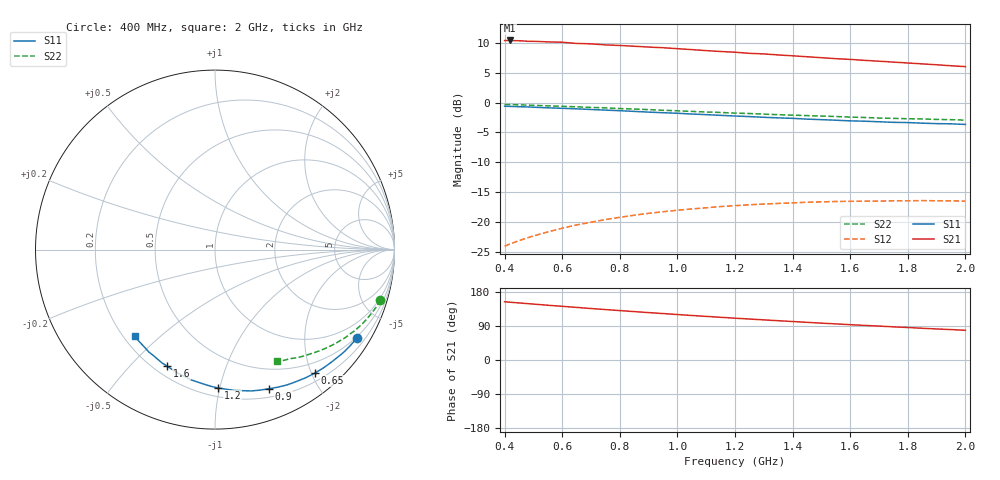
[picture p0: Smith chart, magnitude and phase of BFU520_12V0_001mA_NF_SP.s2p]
! Filename:  P:\Prog\Test\Noise\ATS_data\Testdata_Net\06 Compressed Noise after Statistics\BFU520_APG2013_37_A05_12p0V_001mA_NF_CM01_D.sf
! Date/Time: Fri 26/Apr/2013 14:13:09
! BFU520_APG2013_37_A05_12p0V_1to20mA_NF_CM01_Bias1_R.sf
! Noise Parameter Data File
! BFU520_APG2013_37_A05_12p0V_1to20mA_NF_CM01
! Date/time: Tue Apr 23 19:55:39 2013
! freq range =  0.4000 to  2.0000 GHz, 37 points
! bias range =  0.9950 to 20.0000 mA, 8 points
! bias supplies used: 1 1 0 0 0 0
! VAR bias_mode= 1  ! Specify V_out, I_out
! VAR bias_var = 1  ! Bias variable = I_out
! VAR V_out= 12.001000
! VAR I_out= 0.995000
! VAR V_in= 0.786100
! VAR I_in= 0.008600
! Device data file deembeded for feedlines and parallel
! Original file: \06 Compressed Noise after Statistics\BFU520_APG2013_37_A05_12p0V_001mA_NF_CM01_R.sf
! Feed-files: PR047V01_250413_Feed1.s2p, PR047V01_250413_Feed2.s2p
! Parallel-file: PR047V01_250413_Par.s2p
# MHz S MA R 50
!  Freq-MHz  S11-mag  S11-arg  S21-mag  S21-arg  S12-mag  S12-arg  S22-mag  S22-arg
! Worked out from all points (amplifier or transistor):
!   37 points, 400 MHz to 2 GHz, reference 50 ohm
!   highest |S21| = 10.4 dB at 420 MHz (marker M1)
!   |S21| within 3 dB of that: start of sweep to 1.535 GHz
!   unconditionally stable (mu >= 1): nowhere
!   at 500 MHz: K = 0.13, MSG = 16.3 dB, |S12| = -22.3 dB
!   at 1.1 GHz: K = 0.26, MSG = 13.2 dB, |S12| = -17.6 dB
!   at 2 GHz: K = 0.48, MSG = 11.3 dB, |S12| = -16.5 dB
!   lowest NFmin = 0.36 dB at 1.8 GHz
!   S11 on the Smith chart (normalised r, x): 400 MHz: 0.46, -3.42; 650 MHz: 0.32, -2.06; 900 MHz: 0.28, -1.42; 1.2 GHz: 0.26, -0.99; 1.6 GHz: 0.25, -0.64; 2 GHz: 0.25, -0.41
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400  0.9309 -32.0  3.305 153.7  0.06269 68.6  0.9635 -17.0
420  0.9276 -33.6  3.309 152.4  0.06558 67.7  0.9605 -17.8
460  0.9208 -36.7  3.284 150.0  0.0711 65.7  0.9553 -19.4
480  0.9182 -38.2  3.254 148.8  0.07368 64.7  0.9508 -20.1
500  0.9135 -39.8  3.256 147.6  0.07633 63.7  0.9476 -20.9
550  0.903 -43.7  3.219 144.5  0.08249 61.2  0.9381 -22.8
600  0.8943 -47.4  3.196 141.7  0.0886 59.0  0.9295 -24.6
650  0.8851 -51.0  3.124 138.8  0.09442 56.7  0.9206 -26.5
700  0.8744 -54.9  3.098 135.8  0.09945 54.4  0.9103 -28.2
750  0.8637 -58.3  3.038 133.1  0.1047 52.4  0.9016 -29.9
800  0.8542 -61.9  3.004 130.4  0.1093 50.3  0.8899 -31.5
900  0.8311 -68.8  2.913 125.1  0.1181 46.4  0.8722 -34.7
950  0.8217 -72.4  2.876 122.5  0.1217 44.3  0.8609 -36.2
1050  0.801 -78.9  2.773 117.4  0.1286 40.6  0.8423 -39.2
1200  0.771 -88.7  2.637 110.3  0.1368 35.5  0.8156 -43.3
1250  0.7623 -91.6  2.582 108.1  0.1393 34.0  0.8087 -44.3
1300  0.7519 -94.7  2.552 105.9  0.1413 32.4  0.7995 -45.7
1500  0.7189 -106.6  2.373 97.3  0.1472 26.5  0.7699 -50.5
1600  0.7022 -112.2  2.296 93.2  0.1488 23.7  0.7551 -52.8
1750  0.6824 -120.3  2.179 87.5  0.1504 20.1  0.7366 -55.9
1850  0.6716 -125.5  2.106 83.7  0.151 17.8  0.7279 -57.9
2000  0.6554 -132.9  1.998 78.4  0.1494 14.7  0.7118 -61.0
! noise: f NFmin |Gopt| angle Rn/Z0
400  0.6286  0.6541  19.55  0.363
460  0.6138  0.6437  22.57  0.3576
600  0.6503  0.6163  27.18  0.3553
800  0.6952  0.6232  39.52  0.3414
1000  0.7173  0.6084  50  0.3303
1200  0.8022  0.6136  60.26  0.3163
1400  0.7688  0.6171  71.95  0.261
1600  0.7372  0.6008  82.05  0.2099
1800  0.3621  0.5421  97.15  0.1186
2000  0.8901  0.7015  102.4  0.1861
